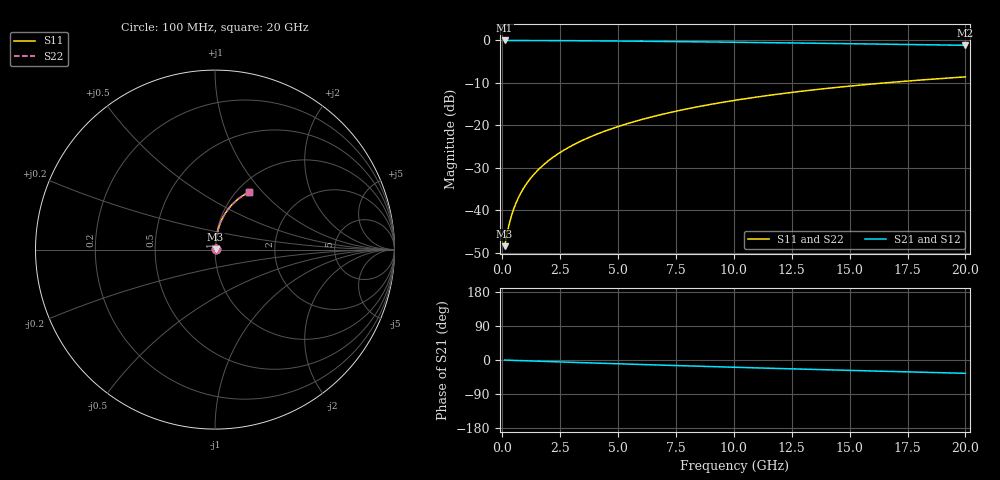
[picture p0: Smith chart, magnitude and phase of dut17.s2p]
! Touchstone file exported from HFSS 2024.1.0
!  File:  C:/UserFiles/LocalFiles/RDL_TSV_Batchsim/temp_RDL_bottom_17_1778691541.aedt
!  Generated:  01:01:33 AM May 14, 2026
!  Design:  RDL_bottom
!  Project:  temp_RDL_bottom_17_1778691541
!  Setup:  Setup1
!  Solution:  Sweep
! Variables:
!  dtsv = 10.80580581um
!  hbump = 3um
!  htsv = 60.17um
!  ldown = 460.31um
!  lrdl = 100um
!  p = 40
!  p1 = 48.93um
!  rhole = 1um
!  t = 450um
!  tdown = 3.08um
!  trdl = 3.915915916um
!  wdown = 17.78um
!  wrdl = 20um
# GHz S MA R 50.000000
! Terminal data exported
! Port[1] = RDL1_T1
! Port[2] = RDL1_T2
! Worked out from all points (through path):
!   200 points, 100 MHz to 20 GHz, reference 50 ohm
!   highest |S21| = -0.03 dB at 100 MHz (marker M1); lowest = -1.2 dB at 20 GHz (marker M2)
!   group delay of S21, straight-line fit = 4.86 ps
!   lowest |S11| = -48.5 dB at 100 MHz (marker M3), VSWR 1.01, Z = 50.3 + j0.205 ohm
!   |S11| at or under -10 dB: start of sweep to 16.58 GHz
!   |S22| runs from -48.5 to -8.6 dB; largest |S21 - S12| = 2.7e-15
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0.1  0.003759 32.7  0.9968 -0.2  0.9968 -0.2  0.003759 32.7
! Gamma 0 0 0 0
! Port Impedance 50 0 50 0
0.2  0.005181 51.2  0.9967 -0.4  0.9967 -0.4  0.005181 51.2
0.3  0.006875 60.7  0.9966 -0.6  0.9966 -0.6  0.006875 60.7
0.4  0.008649 66.2  0.9965 -0.8  0.9965 -0.8  0.00865 66.2
0.5  0.01045 69.8  0.9963 -1.0  0.9963 -1.0  0.01045 69.8
0.6  0.01226 72.4  0.9962 -1.3  0.9962 -1.3  0.01226 72.4
0.8  0.01591 75.8  0.9959 -1.7  0.9959 -1.7  0.01591 75.8
1.1  0.02143 78.7  0.9954 -2.3  0.9954 -2.3  0.02143 78.7
1.3  0.02514 80.0  0.9951 -2.7  0.9951 -2.7  0.02514 80.0
1.6  0.03075 81.2  0.9945 -3.3  0.9945 -3.3  0.03075 81.2
2.1  0.04018 82.4  0.9933 -4.3  0.9933 -4.3  0.04018 82.4
2.7  0.05162 82.9  0.9915 -5.5  0.9915 -5.5  0.05162 82.9
3.5  0.06705 83.0  0.9886 -7.1  0.9886 -7.1  0.06705 83.0
4.2  0.0807 82.7  0.9856 -8.5  0.9856 -8.5  0.0807 82.7
5  0.09645 82.0  0.9816 -10.0  0.9816 -10.0  0.09644 82.0
5.9  0.1143 81.1  0.9767 -11.7  0.9767 -11.7  0.1143 81.1
6.8  0.1323 80.0  0.9714 -13.4  0.9714 -13.4  0.1322 80.0
8.4  0.1641 77.8  0.9611 -16.3  0.9611 -16.3  0.1641 77.8
10.1  0.1976 75.2  0.9494 -19.3  0.9494 -19.3  0.1976 75.2
13.4  0.2603 69.9  0.9253 -24.9  0.9253 -24.9  0.2602 69.9
16.7  0.3183 64.6  0.9001 -30.1  0.9001 -30.1  0.3182 64.6
20  0.3709 59.5  0.8742 -35.1  0.8742 -35.1  0.3708 59.5
